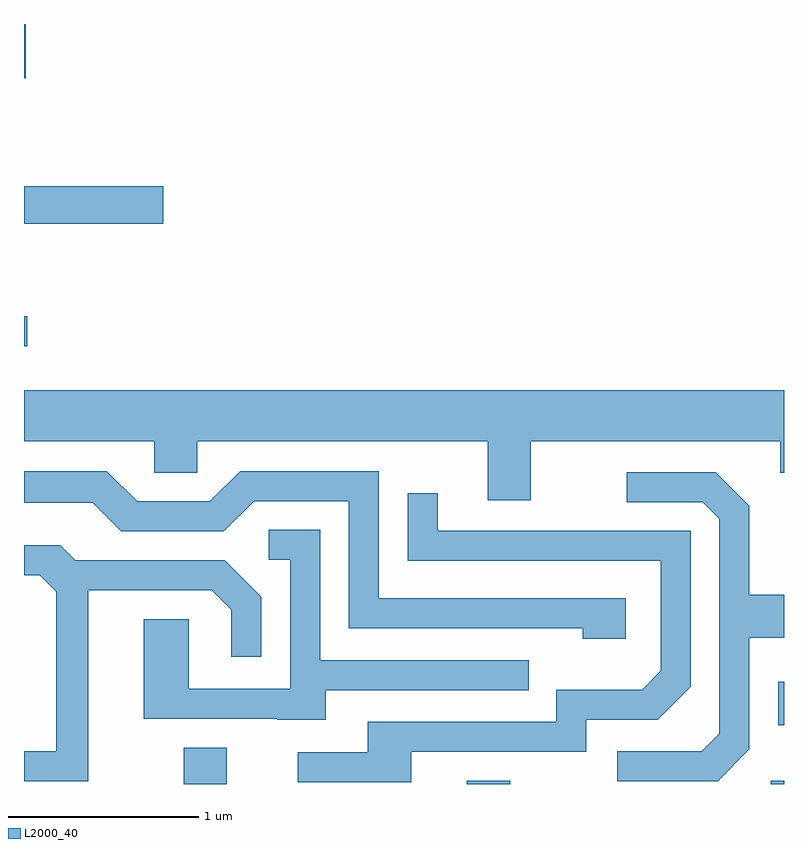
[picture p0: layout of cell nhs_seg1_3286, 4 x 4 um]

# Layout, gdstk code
import gdstk
lib = gdstk.Library(unit=1e-6, precision=1e-09)
def R(c, l, rs):  # rectangles x0, y0, x1, y1
    for r in rs: c.add(gdstk.rectangle(r[:2], r[2:], *l))
def P(c, l, *ps):  # polygons
    for p in ps: c.add(gdstk.Polygon(p, *l))
L2000_40 = (2000, 40)

nhs_seg1_3286 = lib.new_cell('nhs_seg1_3286')
R(nhs_seg1_3286, L2000_40, [(284.451,957.712,284.679,957.904), (285.941,957.712,286.169,957.729), (287.541,957.712,287.611,957.729), (287.581,958.021,287.611,958.249), (283.611,960.016,283.628,960.174), (283.611,960.661,284.344,960.859), (283.611,961.426,283.619,961.712)])
P(nhs_seg1_3286, L2000_40, [(286.279,959.516),(287.591,959.516),(287.591,959.351),(287.611,959.351),(287.611,959.784),(283.611,959.784),(283.611,959.516),(284.296,959.516),(284.296,959.351),(284.524,959.351),(284.524,959.516),(286.051,959.516),(286.051,959.206),(286.279,959.206)],
  [(286.779,958.689),(285.479,958.689),(285.479,959.359),(284.749,959.359),(284.589,959.199),(284.207,959.199),(284.047,959.359),(283.611,959.359),(283.611,959.191),(283.974,959.191),(284.124,959.041),(284.662,959.041),(284.822,959.201),(285.321,959.201),(285.321,958.531),(286.551,958.531),(286.551,958.476),(286.779,958.476)],
  [(287.429,957.894),(287.429,958.481),(287.611,958.481),(287.611,958.709),(287.429,958.709),(287.429,959.177),(287.252,959.354),(286.783,959.354),(286.783,959.196),(287.184,959.196),(287.271,959.109),(287.271,957.977),(287.179,957.884),(286.733,957.884),(286.733,957.726),(287.262,957.726)],
  [(285.649,957.881),(286.569,957.881),(286.569,958.051),(286.947,958.051),(287.119,958.224),(287.119,959.044),(285.789,959.044),(285.789,959.243),(285.631,959.243),(285.631,958.886),(286.961,958.886),(286.961,958.307),(286.864,958.209),(286.411,958.209),(286.411,958.039),(285.421,958.039),(285.421,957.879),(285.053,957.879),(285.053,957.721),(285.649,957.721)],
  [(285.199,958.206),(286.268,958.206),(286.268,958.364),(285.169,958.364),(285.169,959.049),(284.898,959.049),(284.898,958.891),(285.011,958.891),(285.011,958.214),(284.479,958.214),(284.479,958.579),(284.241,958.579),(284.241,958.056),(284.945,958.056),(284.945,958.051),(285.199,958.051)],
  [(283.949,958.731),(284.599,958.731),(284.701,958.629),(284.701,958.383),(284.859,958.383),(284.859,958.697),(284.667,958.889),(283.882,958.889),(283.802,958.969),(283.611,958.969),(283.611,958.811),(283.694,958.811),(283.781,958.724),(283.781,957.884),(283.611,957.884),(283.611,957.726),(283.949,957.726)])

lib.write_gds('nhs_seg1_3286.gds')
